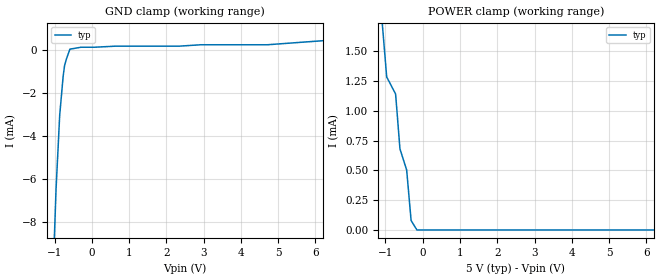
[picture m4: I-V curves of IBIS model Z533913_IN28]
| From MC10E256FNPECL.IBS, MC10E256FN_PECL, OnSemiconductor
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| (C) COPYRIGHT 1993-2000
| MENTOR GRAPHICS CORPORATION
| ICX STANDARD LIBRARY, ICX PROJECT MODELING,
| ICX CUSTOM MODELING, ICX VENDOR MODEL
| ALL RIGHTS RESERVED.
| THE FOLLOWING ARE TRADEMARKS OR SERVICE MARKS OF
| MENTOR GRAPHICS CORPORATION:ICX (R), ICX STANDARD
| LIBRARY(R), ICX PROJECT MODELING(R), ICX CUSTOM
| MODELING(R), qualityIBIS(TM), MODELVIEWER(TM),
| AND MODELEDITOR(TM)
| ALL COPIES OF SOFTWARE, INCLUDING BUT NOT LIMITED TO
| ANY MODIFICATIONS, ENHANCEMENTS OR DERIVATIVE WORKS,
| MUST CONTAIN ALL MENTOR GRAPHICS CORPORATION'S
| NOTICES AND LEGENDS, INCLUDING THOSE EMBEDDED IN
| SOFTWARE AND THOSE AFFIXED TO SOFTWARE MEDIUM
| AND CONTAINER, AS RECEIVED FROM MENTOR GRAPHICS
| CORPORATION.
| Model Application Version 1.89 2/18/99.
[Model] Z533913_IN28
Model_type Input_ECL
Vinl = 3.520V
Vinh = 3.830V
C_comp 4.000pF NA NA
| variable typ   min   max
[Voltage Range] 5.000V NA NA
[GND Clamp Reference] 0.000V NA NA
[POWER Clamp Reference] 5.000V NA NA
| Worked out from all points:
|   GND clamp passes 1 mA (typ) near -0.75 V on its own axis
|   POWER clamp passes 1 mA (typ) near -0.69 V on its own axis
[GND Clamp]
-5V       -393.6mA   NA         NA
-1.074V   -11.95mA   NA         NA
-962.1mV  -6.452mA   NA         NA
-864.3mV  -3.025mA   NA         NA
-770.1mV  -1.196mA   NA         NA
-731.8mV  -715.6uA   NA         NA
-686.7mV  -439.5uA   NA         NA
-590.7mV  28.72uA    NA         NA
-295.3mV  118.3uA    NA         NA
645.4mV   168.8uA    NA         NA
4.709V    233.1uA    NA         NA
10V       900.4uA    NA         NA
[POWER Clamp]
-5V       5.29mA     NA         NA
-1.365V   2.295mA    NA         NA
-1.23V    1.831mA    NA         NA
-1.088V   1.744mA    NA         NA
-967mV    1.285mA    NA         NA
-728mV    1.142mA    NA         NA
-611mV    681.1uA    NA         NA
-431mV    503.7uA    NA         NA
-312mV    79.53uA    NA         NA
-156mV    0A         NA         NA
10V       0A         NA         NA
